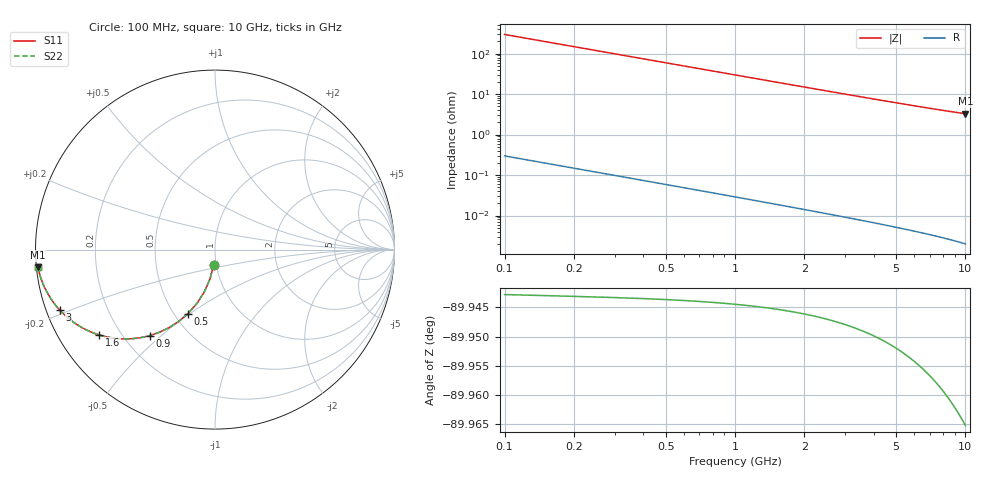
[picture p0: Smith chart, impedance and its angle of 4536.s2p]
# Hz S RI R 50.00
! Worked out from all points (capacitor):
!   100 points, 100 MHz to 10 GHz, reference 50 ohm
!   read as one part in shunt: C = 5.35 pF near 100 MHz
!   lowest |Z| = 3.27 ohm at 10 GHz (marker M1)
!   S11 on the Smith chart (normalised r, x): 100 MHz: 0.97, -0.16; 500 MHz: 0.59, -0.49; 900 MHz: 0.31, -0.46; 1.6 GHz: 0.12, -0.33; 3 GHz: 0.04, -0.19; 10 GHz: 0.00, -0.05
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1e8  -0.00705 -0.0833  0.9929 -0.0836  0.9929 -0.0836  -0.00705 -0.0833
2e8  -0.0276 -0.1631  0.9723 -0.1637  0.9723 -0.1637  -0.0276 -0.1631
3e8  -0.0599 -0.2365  0.94 -0.2374  0.94 -0.2374  -0.0599 -0.2365
4e8  -0.1017 -0.3013  0.8982 -0.3024  0.8982 -0.3024  -0.1017 -0.3013
5e8  -0.1503 -0.3562  0.8496 -0.3576  0.8496 -0.3576  -0.1503 -0.3562
6e8  -0.2029 -0.4008  0.797 -0.4026  0.797 -0.4026  -0.2029 -0.4008
7e8  -0.2573 -0.4356  0.7426 -0.4377  0.7426 -0.4377  -0.2573 -0.4356
9e8  -0.364 -0.4794  0.6359 -0.4819  0.6359 -0.4819  -0.364 -0.4794
1.2e9  -0.5041 -0.4978  0.4958 -0.5012  0.4958 -0.5012  -0.5041 -0.4978
1.4e9  -0.5804 -0.491  0.4195 -0.495  0.4195 -0.495  -0.5804 -0.491
1.6e9  -0.6436 -0.4761  0.3563 -0.4807  0.3563 -0.4807  -0.6436 -0.4761
1.8e9  -0.6956 -0.457  0.3043 -0.4622  0.3043 -0.4622  -0.6956 -0.457
2e9  -0.7383 -0.4361  0.2616 -0.4419  0.2616 -0.4419  -0.7383 -0.4361
2.3e9  -0.7886 -0.4044  0.2113 -0.4111  0.2113 -0.4111  -0.7886 -0.4044
2.6e9  -0.8266 -0.3743  0.1733 -0.3818  0.1733 -0.3818  -0.8266 -0.3743
3e9  -0.8639 -0.338  0.136 -0.3467  0.136 -0.3467  -0.8639 -0.338
3.4e9  -0.8908 -0.3064  0.1091 -0.3163  0.1091 -0.3163  -0.8908 -0.3064
4.2e9  -0.9257 -0.2554  0.0741 -0.2677  0.0741 -0.2677  -0.9257 -0.2554
5.1e9  -0.9485 -0.2127  0.0513 -0.2278  0.0513 -0.2278  -0.9485 -0.2127
6.7e9  -0.9697 -0.1604  0.03 -0.1805  0.03 -0.1805  -0.9697 -0.1604
8.4e9  -0.9807 -0.1235  0.0189 -0.1491  0.0189 -0.1491  -0.9807 -0.1235
1e10  -0.9864 -0.0984  0.013 -0.1294  0.013 -0.1294  -0.9864 -0.0984
